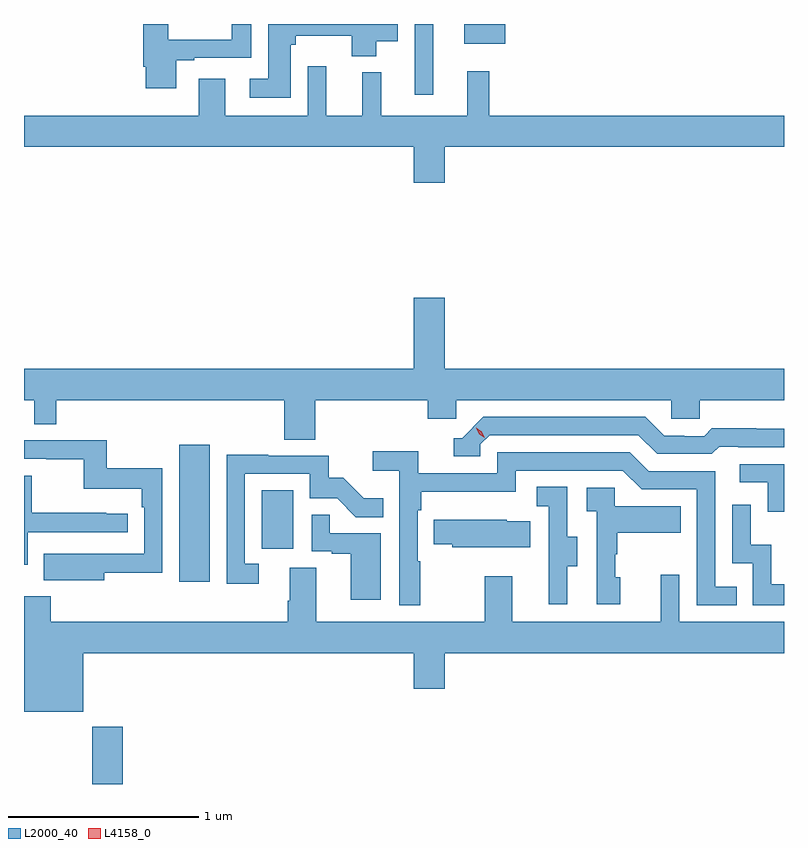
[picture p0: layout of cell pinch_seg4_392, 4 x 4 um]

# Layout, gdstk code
import gdstk
lib = gdstk.Library(unit=1e-6, precision=1e-09)
def R(c, l, rs):  # rectangles x0, y0, x1, y1
    for r in rs: c.add(gdstk.rectangle(r[:2], r[2:], *l))
def P(c, l, *ps):  # polygons
    for p in ps: c.add(gdstk.Polygon(p, *l))
L2000_40 = (2000, 40)
L4158_0 = (4158, 0)

pinch_seg4_392 = lib.new_cell('pinch_seg4_392')
R(pinch_seg4_392, L2000_40, [(978.502,786.807,978.662,787.108), (978.959,787.872,979.12,788.593), (979.394,788.046,979.558,788.353), (980.199,790.434,980.296,790.807), (980.459,790.703,980.674,790.807)])
P(pinch_seg4_392, L2000_40, [(978.943,790.617),(979.039,790.617),(979.039,790.629),(979.339,790.629),(979.339,790.807),(979.235,790.807),(979.235,790.725),(978.901,790.725),(978.901,790.807),(978.77,790.807),(978.77,790.582),(978.782,790.582),(978.782,790.47),(978.943,790.47)],
  [(979.546,790.698),(979.572,790.698),(979.572,790.745),(979.867,790.745),(979.867,790.637),(979.996,790.637),(979.996,790.715),(980.11,790.715),(980.11,790.807),(979.427,790.807),(979.427,790.519),(979.329,790.519),(979.329,790.418),(979.546,790.418)],
  [(980.356,790.16),(982.142,790.16),(982.142,790.324),(980.591,790.324),(980.591,790.558),(980.474,790.558),(980.474,790.324),(980.021,790.324),(980.021,790.552),(979.922,790.552),(979.922,790.324),(979.733,790.324),(979.733,790.585),(979.635,790.585),(979.635,790.324),(979.201,790.324),(979.201,790.519),(979.061,790.519),(979.061,790.324),(978.142,790.324),(978.142,790.16),(980.192,790.16),(980.192,789.972),(980.356,789.972)],
  [(979.676,788.828),(980.267,788.828),(980.267,788.73),(980.418,788.73),(980.418,788.828),(981.549,788.828),(981.549,788.73),(981.699,788.73),(981.699,788.828),(982.142,788.828),(982.142,788.992),(980.356,788.992),(980.356,789.367),(980.192,789.367),(980.192,788.992),(978.142,788.992),(978.142,788.828),(978.195,788.828),(978.195,788.701),(978.311,788.701),(978.311,788.828),(979.511,788.828),(979.511,788.62),(979.676,788.62)],
  [(980.544,788.595),(980.592,788.643),(981.375,788.643),(981.474,788.544),(981.763,788.544),(981.802,788.583),(981.901,788.583),(981.901,788.58),(982.142,788.58),(982.142,788.677),(981.996,788.677),(981.996,788.68),(981.763,788.68),(981.721,788.637),(981.618,788.637),(981.618,788.64),(981.511,788.64),(981.412,788.739),(980.559,788.739),(980.448,788.628),(980.405,788.628),(980.405,788.532),(980.544,788.532)],
  [(978.565,787.918),(978.87,787.918),(978.87,788.47),(978.577,788.47),(978.577,788.616),(978.142,788.616),(978.142,788.52),(978.259,788.52),(978.259,788.515),(978.456,788.515),(978.456,788.36),(978.761,788.36),(978.761,788.264),(978.774,788.264),(978.774,788.019),(978.461,788.019),(978.461,788.02),(978.247,788.02),(978.247,787.88),(978.565,787.88)],
  [(980.227,787.979),(980.214,787.979),(980.214,788.249),(980.234,788.249),(980.234,788.345),(980.73,788.345),(980.73,788.457),(981.294,788.457),(981.393,788.358),(981.684,788.358),(981.684,787.749),(981.893,787.749),(981.893,787.845),(981.78,787.845),(981.78,788.454),(981.43,788.454),(981.331,788.553),(980.634,788.553),(980.634,788.442),(980.216,788.442),(980.216,788.558),(979.977,788.558),(979.977,788.456),(980.118,788.456),(980.118,787.749),(980.227,787.749)],
  [(979.378,787.965),(979.305,787.965),(979.305,788.439),(979.647,788.439),(979.647,788.31),(979.791,788.31),(979.889,788.212),(980.033,788.212),(980.033,788.311),(979.929,788.311),(979.822,788.418),(979.746,788.418),(979.746,788.535),(979.427,788.535),(979.427,788.54),(979.209,788.54),(979.209,787.86),(979.378,787.86)],
  [(982.142,788.49),(981.909,788.49),(981.909,788.394),(982.056,788.394),(982.056,788.241),(982.142,788.241)],
  [(978.162,788.133),(978.688,788.133),(978.688,788.229),(978.575,788.229),(978.575,788.234),(978.182,788.234),(978.182,788.43),(978.142,788.43),(978.142,787.961),(978.162,787.961)],
  [(981.001,787.954),(981.055,787.954),(981.055,788.109),(981,788.109),(981,788.372),(980.841,788.372),(980.841,788.269),(980.904,788.269),(980.904,787.965),(980.903,787.965),(980.903,787.752),(981.001,787.752)],
  [(981.28,787.896),(981.255,787.896),(981.255,788.015),(981.265,788.015),(981.265,788.129),(981.599,788.129),(981.599,788.269),(981.252,788.269),(981.252,788.367),(981.105,788.367),(981.105,788.243),(981.156,788.243),(981.156,787.752),(981.28,787.752)],
  [(982.142,787.858),(982.076,787.858),(982.076,788.066),(981.966,788.066),(981.966,788.278),(981.87,788.278),(981.87,787.968),(981.978,787.968),(981.978,787.749),(982.142,787.749)],
  [(980.02,788.127),(979.751,788.127),(979.751,788.225),(979.656,788.225),(979.656,788.031),(979.763,788.031),(979.763,788.019),(979.862,788.019),(979.862,787.776),(980.02,787.776)],
  [(980.807,788.191),(980.682,788.191),(980.682,788.197),(980.299,788.197),(980.299,788.068),(980.397,788.068),(980.397,788.054),(980.807,788.054)],
  [(978.454,787.496),(980.192,787.496),(980.192,787.308),(980.356,787.308),(980.356,787.496),(982.142,787.496),(982.142,787.66),(981.591,787.66),(981.591,787.909),(981.494,787.909),(981.494,787.66),(980.713,787.66),(980.713,787.9),(980.566,787.9),(980.566,787.66),(979.681,787.66),(979.681,787.946),(979.541,787.946),(979.541,787.772),(979.529,787.772),(979.529,787.66),(978.284,787.66),(978.284,787.795),(978.142,787.795),(978.142,787.187),(978.454,787.187)])
P(pinch_seg4_392, L4158_0, [(980.567,788.629),(980.537,788.648),(980.522,788.681),(980.522,788.681),(980.522,788.681),(980.552,788.662),(980.567,788.629),(980.567,788.629)])

lib.write_gds('pinch_seg4_392.gds')
